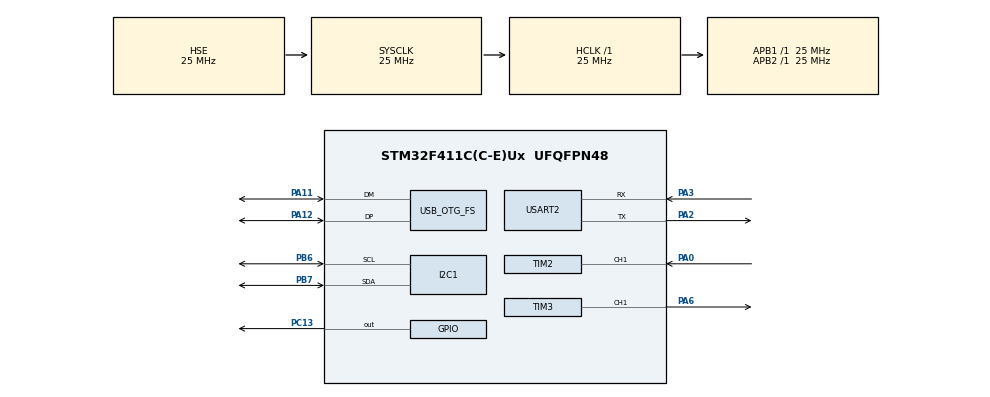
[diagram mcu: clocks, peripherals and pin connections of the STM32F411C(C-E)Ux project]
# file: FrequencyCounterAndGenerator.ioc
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Mcu.Family=STM32F4
Mcu.Name=STM32F411C(C-E)Ux
Mcu.Package=UFQFPN48
NVIC.OTG_FS_IRQn=true\:0\:0\:false\:false\:true\:false\:true\:true
NVIC.PriorityGroup=NVIC_PRIORITYGROUP_4
NVIC.TIM2_IRQn=true\:0\:0\:false\:false\:true\:true\:true\:true
NVIC.USART2_IRQn=true\:0\:0\:false\:false\:true\:true\:true\:true
PA0-WKUP.GPIO_PuPd=GPIO_PULLUP
PA0-WKUP.Signal=S_TIM2_CH1_ETR
PA11.Mode=Device_Only
PA11.Signal=USB_OTG_FS_DM
PA12.Mode=Device_Only
PA12.Signal=USB_OTG_FS_DP
PA13.Mode=Serial_Wire
PA13.Signal=SYS_JTMS-SWDIO
PA14.Mode=Serial_Wire
PA14.Signal=SYS_JTCK-SWCLK
PA2.GPIO_PuPd=GPIO_NOPULL
PA2.Mode=Asynchronous
PA2.Signal=USART2_TX
PA3.GPIO_PuPd=GPIO_PULLUP
PA3.Mode=Asynchronous
PA3.Signal=USART2_RX
PA6.Signal=S_TIM3_CH1
PB6.Mode=I2C
PB6.Signal=I2C1_SCL
PB7.Mode=I2C
PB7.Signal=I2C1_SDA
PC13-ANTI_TAMP.GPIO_PuPd=GPIO_PULLUP
PC13-ANTI_TAMP.Signal=GPIO_Output
PH0\ -\ OSC_IN.Mode=HSE-External-Oscillator
PH0\ -\ OSC_IN.Signal=RCC_OSC_IN
PH1\ -\ OSC_OUT.Mode=HSE-External-Oscillator
PH1\ -\ OSC_OUT.Signal=RCC_OSC_OUT
ProjectManager.HeapSize=0x200
ProjectManager.StackSize=0x400
ProjectManager.TargetToolchain=STM32CubeIDE
RCC.48MHZClocksFreq_Value=48000000
RCC.AHBFreq_Value=25000000
RCC.APB1Freq_Value=25000000
RCC.APB1TimFreq_Value=25000000
RCC.APB2Freq_Value=25000000
RCC.APB2TimFreq_Value=25000000
RCC.CortexFreq_Value=25000000
RCC.HCLKFreq_Value=25000000
RCC.HSE_VALUE=25000000
RCC.HSI_VALUE=16000000
RCC.LSE_VALUE=32768
RCC.PLLM=15
RCC.PLLN=144
RCC.PLLQ=5
RCC.SYSCLKFreq_VALUE=25000000
RCC.SYSCLKSource=RCC_SYSCLKSOURCE_HSE
RCC.VCOOutputFreq_Value=240000000
SH.S_TIM2_CH1_ETR.0=TIM2_CH1,Input_Capture1_from_TI1
SH.S_TIM3_CH1.0=TIM3_CH1,PWM Generation1 CH1
TIM2.Channel-Input_Capture1_from_TI1=TIM_CHANNEL_1
TIM2.ICFilter_CH1=0
TIM2.ICPolarity_CH1=TIM_INPUTCHANNELPOLARITY_FALLING
TIM2.Prescaler=1-1
TIM3.Channel-PWM\ Generation1\ CH1=TIM_CHANNEL_1
TIM3.OCFastMode_PWM-PWM\ Generation1\ CH1=TIM_OCFAST_ENABLE
TIM3.OCPolarity_1=TIM_OCPOLARITY_LOW
TIM3.Period=1-1
TIM3.Prescaler=1-1
USART2.VirtualMode=VM_ASYNC
USB_DEVICE.CLASS_NAME_FS=CDC
USB_DEVICE.VirtualMode=Cdc
USB_DEVICE.VirtualModeFS=Cdc_FS
USB_OTG_FS.VirtualMode=Device_Only
VP_TIM2_VS_ClockSourceINT.Mode=Internal
VP_TIM3_VS_ClockSourceINT.Mode=Internal
VP_USB_DEVICE_VS_USB_DEVICE_CDC_FS.Mode=CDC_FS
board=custom

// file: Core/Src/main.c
/* USER CODE BEGIN Header */
/**
 ******************************************************************************
 * @file           : main.c
 * @brief          : Main program body
 ******************************************************************************
 * @attention
 *
 * Copyright (c) 2024 STMicroelectronics.
 * All rights reserved.
 *
 * This software is licensed under terms that can be found in the LICENSE file
 * in the root directory of this software component.
 * If no LICENSE file comes with this software, it is provided AS-IS.
 *
 ******************************************************************************
 */
/* USER CODE END Header */
#include "main.h"
#include "usb_device.h"

/* USER CODE BEGIN Includes */
#include <math.h>
#include "count2volt.h"
#include "usbd_cdc_if.h"
/* USER CODE END Includes */

/* USER CODE BEGIN PD */
#define ARRMAX 65535
//#define FREQGENON
#define FREQGENOFF
#define LCD
#define USB
#define BT
/* USER CODE END PD */

I2C_HandleTypeDef hi2c1;

TIM_HandleTypeDef htim2;
TIM_HandleTypeDef htim3;

UART_HandleTypeDef huart2;

/* USER CODE BEGIN PV */
HAL_StatusTypeDef retTimer;
GPIO_PinState pinState;
char bufferCDC[1000], bufferBT[1000], bufferLCD[50];
char bufferGenFreq[20], bufferFreq[20], bufferTimerClock[20];
uint8_t length, flag = 0, flagBT = 1;
uint32_t period, desiredFreq, periodPrint, PSC, ARR, CCR, counter = 0;
uint32_t timerClock, desiredFreqperiod, currentCount, lastCountPrint, lastCount = 0;
float dCycle, genFreq, frequency, freqPrint;
/* USER CODE END PV */

void SystemClock_Config(void);
static void MX_GPIO_Init(void);
static void MX_TIM2_Init(void);
static void MX_TIM3_Init(void);
static void MX_USART2_UART_Init(void);
static void MX_I2C1_Init(void);
/* USER CODE BEGIN PFP */
void freqGen(TIM_HandleTypeDef *htim, uint32_t freq);
void freqConv(float freq, char Buf[], uint8_t dPlaces);
int countDigits(int number);
void print2LCD();
void print2USB();
void print2BT();
void btSendString(char *Buf);
void HAL_UART_TxCpltCallback(UART_HandleTypeDef *huart);
void HAL_TIM_IC_CaptureCallback(TIM_HandleTypeDef *htim);
void lcd_init(void);   // initialize lcd
void lcd_send_cmd(char cmd);  // send command to the lcd
void lcd_send_data(char data);  // send data to the lcd
void lcd_send_string(char *str);  // send string to the lcd
void lcd_put_cur(int row, int col); // put cursor at the entered position row (0 or 1), col (0-15);
void lcd_clear(void);
/* USER CODE END PFP */

int main(void)
{

  /* MCU Configuration--------------------------------------------------------*/

  /* Reset of all peripherals, Initializes the Flash interface and the Systick. */
  HAL_Init();

  /* Configure the system clock */
  SystemClock_Config();

  /* Initialize all configured peripherals */
  MX_GPIO_Init();
  MX_TIM2_Init();
  MX_TIM3_Init();
  MX_USART2_UART_Init();
  MX_I2C1_Init();
  MX_USB_DEVICE_Init();
  /* USER CODE BEGIN 2 */
	timerClock = (float) HAL_RCC_GetPCLK2Freq();

	#ifdef FREQGENON
		desiredFreq = 12000;
	#endif

	lcd_init();
	HAL_Delay(100);
	lcd_clear();
	HAL_Delay(100);

	retTimer = HAL_TIM_IC_Start_IT(&htim2, TIM_CHANNEL_1);
	if (retTimer == HAL_OK) {
		HAL_Delay(200);
		for (uint8_t i = 0; i < 6; i++) {
			HAL_GPIO_TogglePin(GPIOC, GPIO_PIN_13);
			HAL_Delay(200);
		}
	}

#ifdef FREQGENON
		freqGen(&htim3, desiredFreq);
		freqConv(genFreq, bufferGenFreq, 4);
	#endif

	freqConv(timerClock, bufferTimerClock, 2);
  /* USER CODE END 2 */

  /* Infinite loop */
  /* USER CODE BEGIN WHILE */
	while (1) {

		freqConv(frequency, bufferFreq, 4);

		dCycle = (CCR / (float) (ARR + 1)) * 100.0;

		length = countDigits(period);

		#ifdef LCD && #undef USB && #undef BT
			print2LCD();
		#endif

		#ifdef USB && #undef BT && #undef LCD
			//BufferCDC com CRLF para a porta USB
			print2USB();
		#endif

		#ifdef BT && #undef USB && #undef LCD
			//BufferBT com LF para o bluetooth
			print2BT();
		#endif

		if (flag) {
			TIM2->CNT = 0;
			flag = 0;
		}

		HAL_Delay(1000);

		HAL_GPIO_TogglePin(GPIOC, GPIO_PIN_13);

    /* USER CODE END WHILE */

	}
}

void SystemClock_Config(void)
{
  RCC_OscInitTypeDef RCC_OscInitStruct = {0};
  RCC_ClkInitTypeDef RCC_ClkInitStruct = {0};

  /** Configure the main internal regulator output voltage
  */
  __HAL_RCC_PWR_CLK_ENABLE();
  __HAL_PWR_VOLTAGESCALING_CONFIG(PWR_REGULATOR_VOLTAGE_SCALE1);

  /** Initializes the RCC Oscillators according to the specified parameters
  * in the RCC_OscInitTypeDef structure.
  */
  RCC_OscInitStruct.OscillatorType = RCC_OSCILLATORTYPE_HSE;
  RCC_OscInitStruct.HSEState = RCC_HSE_ON;
  RCC_OscInitStruct.PLL.PLLState = RCC_PLL_ON;
  RCC_OscInitStruct.PLL.PLLSource = RCC_PLLSOURCE_HSE;
  RCC_OscInitStruct.PLL.PLLM = 15;
  RCC_OscInitStruct.PLL.PLLN = 144;
  RCC_OscInitStruct.PLL.PLLP = RCC_PLLP_DIV2;
  RCC_OscInitStruct.PLL.PLLQ = 5;
  if (HAL_RCC_OscConfig(&RCC_OscInitStruct) != HAL_OK)
  {
    Error_Handler();
  }

  /** Initializes the CPU, AHB and APB buses clocks
  */
  RCC_ClkInitStruct.ClockType = RCC_CLOCKTYPE_HCLK|RCC_CLOCKTYPE_SYSCLK
                              |RCC_CLOCKTYPE_PCLK1|RCC_CLOCKTYPE_PCLK2;
  RCC_ClkInitStruct.SYSCLKSource = RCC_SYSCLKSOURCE_HSE;
  RCC_ClkInitStruct.AHBCLKDivider = RCC_SYSCLK_DIV1;
  RCC_ClkInitStruct.APB1CLKDivider = RCC_HCLK_DIV1;
  RCC_ClkInitStruct.APB2CLKDivider = RCC_HCLK_DIV1;

  if (HAL_RCC_ClockConfig(&RCC_ClkInitStruct, FLASH_LATENCY_0) != HAL_OK)
  {
    Error_Handler();
  }
}

static void MX_I2C1_Init(void)
{

  hi2c1.Instance = I2C1;
  hi2c1.Init.ClockSpeed = 100000;
  hi2c1.Init.DutyCycle = I2C_DUTYCYCLE_2;
  hi2c1.Init.OwnAddress1 = 0;
  hi2c1.Init.AddressingMode = I2C_ADDRESSINGMODE_7BIT;
  hi2c1.Init.DualAddressMode = I2C_DUALADDRESS_DISABLE;
  hi2c1.Init.OwnAddress2 = 0;
  hi2c1.Init.GeneralCallMode = I2C_GENERALCALL_DISABLE;
  hi2c1.Init.NoStretchMode = I2C_NOSTRETCH_DISABLE;
  if (HAL_I2C_Init(&hi2c1) != HAL_OK)
  {
    Error_Handler();
  }

}

static void MX_TIM2_Init(void)
{

  TIM_ClockConfigTypeDef sClockSourceConfig = {0};
  TIM_MasterConfigTypeDef sMasterConfig = {0};
  TIM_IC_InitTypeDef sConfigIC = {0};

  htim2.Instance = TIM2;
  htim2.Init.Prescaler = 1-1;
  htim2.Init.CounterMode = TIM_COUNTERMODE_UP;
  htim2.Init.Period = 4294967295;
  htim2.Init.ClockDivision = TIM_CLOCKDIVISION_DIV1;
  htim2.Init.AutoReloadPreload = TIM_AUTORELOAD_PRELOAD_DISABLE;
  if (HAL_TIM_Base_Init(&htim2) != HAL_OK)
  {
    Error_Handler();
  }
  sClockSourceConfig.ClockSource = TIM_CLOCKSOURCE_INTERNAL;
  if (HAL_TIM_ConfigClockSource(&htim2, &sClockSourceConfig) != HAL_OK)
  {
    Error_Handler();
  }
  if (HAL_TIM_IC_Init(&htim2) != HAL_OK)
  {
    Error_Handler();
  }
  sMasterConfig.MasterOutputTrigger = TIM_TRGO_RESET;
  sMasterConfig.MasterSlaveMode = TIM_MASTERSLAVEMODE_DISABLE;
  if (HAL_TIMEx_MasterConfigSynchronization(&htim2, &sMasterConfig) != HAL_OK)
  {
    Error_Handler();
  }
  sConfigIC.ICPolarity = TIM_INPUTCHANNELPOLARITY_FALLING;
  sConfigIC.ICSelection = TIM_ICSELECTION_DIRECTTI;
  sConfigIC.ICPrescaler = TIM_ICPSC_DIV1;
  sConfigIC.ICFilter = 0;
  if (HAL_TIM_IC_ConfigChannel(&htim2, &sConfigIC, TIM_CHANNEL_1) != HAL_OK)
  {
    Error_Handler();
  }

}

static void MX_TIM3_Init(void)
{

  TIM_ClockConfigTypeDef sClockSourceConfig = {0};
  TIM_MasterConfigTypeDef sMasterConfig = {0};
  TIM_OC_InitTypeDef sConfigOC = {0};

  htim3.Instance = TIM3;
  htim3.Init.Prescaler = 1-1;
  htim3.Init.CounterMode = TIM_COUNTERMODE_UP;
  htim3.Init.Period = 1-1;
  htim3.Init.ClockDivision = TIM_CLOCKDIVISION_DIV1;
  htim3.Init.AutoReloadPreload = TIM_AUTORELOAD_PRELOAD_DISABLE;
  if (HAL_TIM_Base_Init(&htim3) != HAL_OK)
  {
    Error_Handler();
  }
  sClockSourceConfig.ClockSource = TIM_CLOCKSOURCE_INTERNAL;
  if (HAL_TIM_ConfigClockSource(&htim3, &sClockSourceConfig) != HAL_OK)
  {
    Error_Handler();
  }
  if (HAL_TIM_PWM_Init(&htim3) != HAL_OK)
  {
    Error_Handler();
  }
  sMasterConfig.MasterOutputTrigger = TIM_TRGO_RESET;
  sMasterConfig.MasterSlaveMode = TIM_MASTERSLAVEMODE_DISABLE;
  if (HAL_TIMEx_MasterConfigSynchronization(&htim3, &sMasterConfig) != HAL_OK)
  {
    Error_Handler();
  }
  sConfigOC.OCMode = TIM_OCMODE_PWM1;
  sConfigOC.Pulse = 0;
  sConfigOC.OCPolarity = TIM_OCPOLARITY_LOW;
  sConfigOC.OCFastMode = TIM_OCFAST_ENABLE;
  if (HAL_TIM_PWM_ConfigChannel(&htim3, &sConfigOC, TIM_CHANNEL_1) != HAL_OK)
  {
    Error_Handler();
  }
  HAL_TIM_MspPostInit(&htim3);

}

static void MX_USART2_UART_Init(void)
{

  huart2.Instance = USART2;
  huart2.Init.BaudRate = 115200;
  huart2.Init.WordLength = UART_WORDLENGTH_8B;
  huart2.Init.StopBits = UART_STOPBITS_1;
  huart2.Init.Parity = UART_PARITY_NONE;
  huart2.Init.Mode = UART_MODE_TX_RX;
  huart2.Init.HwFlowCtl = UART_HWCONTROL_NONE;
  huart2.Init.OverSampling = UART_OVERSAMPLING_16;
  if (HAL_UART_Init(&huart2) != HAL_OK)
  {
    Error_Handler();
  }

}

static void MX_GPIO_Init(void)
{
  GPIO_InitTypeDef GPIO_InitStruct = {0};

  /* GPIO Ports Clock Enable */
  __HAL_RCC_GPIOC_CLK_ENABLE();
  __HAL_RCC_GPIOH_CLK_ENABLE();
  __HAL_RCC_GPIOA_CLK_ENABLE();
  __HAL_RCC_GPIOB_CLK_ENABLE();

  /*Configure GPIO pin Output Level */
  HAL_GPIO_WritePin(GPIOC, GPIO_PIN_13, GPIO_PIN_RESET);

  /*Configure GPIO pin : PC13 */
  GPIO_InitStruct.Pin = GPIO_PIN_13;
  GPIO_InitStruct.Mode = GPIO_MODE_OUTPUT_PP;
  GPIO_InitStruct.Pull = GPIO_PULLUP;
  GPIO_InitStruct.Speed = GPIO_SPEED_FREQ_LOW;
  HAL_GPIO_Init(GPIOC, &GPIO_InitStruct);

}

/* USER CODE BEGIN 4 */
void freqGen(TIM_HandleTypeDef *htim, uint32_t freq) {
	if (htim->Instance == TIM3) {
		uint32_t arr, psc = 1;
		while (1) {
			if (timerClock % freq == 0) {
				arr = (timerClock / (freq * psc)) - 1;
				if (arr <= ARRMAX) {
					break;
				}
				psc++;
			}
		}
		psc -= 1;

		genFreq = (float) freq;
		ARR = arr;
		CCR = (ARR + 1) / 2;
		PSC = psc;

		htim->Instance->ARR = ARR;
		htim->Instance->PSC = psc;
		htim->Instance->CCR1 = CCR;

		HAL_TIM_PWM_Start(htim, TIM_CHANNEL_1);
	}
	HAL_TIM_IC_Start_IT(&htim2, TIM_CHANNEL_1);
}

void freqConv(float freq, char Buf[], uint8_t dPlaces) {
	uint16_t oMagnitude = 0;
	while (freq >= 1000) {
		freq /= 1000.0;
		oMagnitude++;
	}

	switch (oMagnitude) {
	case 0:
		sprintf(Buf, "%.*f [Hz]", dPlaces, freq);
		break;
	case 1:
		sprintf(Buf, "%.*f [KHz]", dPlaces, freq);
		break;
	case 2:
		sprintf(Buf, "%.*f [MHz]", dPlaces, freq);
		break;
	case 3:
		sprintf(Buf, "%.*f [GHz]", dPlaces, freq);
		break;
	default:
		sprintf(Buf, "Out of range");
		break;
	}
}

int countDigits(int number) {
	if (number == 0) {
		return 1;
	}

	int count = 0;

	// Handle negative numbers
	if (number < 0) {
		number = -number;
	}

	while (number != 0) {
		number /= 10;
		count++;
	}

	return count;
}

void print2LCD() {
	lcd_put_cur(0, 0);
	sprintf(bufferLCD, "%s", "Freq = ");
	lcd_send_string(bufferLCD);

	lcd_put_cur(0, 7);
	sprintf(bufferLCD, "%s", bufferFreq);
	lcd_send_string(bufferLCD);

	lcd_put_cur(2, 0);
	lcd_send_string("T = ");

	lcd_put_cur(2, 4);
	sprintf(bufferLCD, "%lu", period);
	lcd_send_string(bufferLCD);

	//length = countDigits(period);
	HAL_Delay(10);
	lcd_put_cur(2, (length + 4 + 1));
	lcd_send_string("ciclos");

	lcd_put_cur(3, 0);
	lcd_send_string("Clock = ");

	lcd_put_cur(3, 8);
	sprintf(bufferLCD, "%s", bufferTimerClock);
	lcd_send_string(bufferLCD);
}

void print2USB() {
	#ifdef FREQGENON
		sprintf(bufferCDC,
				"\n\r#########################\r\n"
				"FREQUENCY GENERATOR (Timer 3)\n\r"
				"Frequency: %s\n\r"
				"PSC: %lu\n\rARR: %lu\n\rCCR: %lu\n\r"
				"Duty cycle (CCR / (ARR+1)): %.2f %%\n\r\n\r"
				"Frequency Counter (Timer2)\n\r"
				"Frequency: %s\n\r"
				"Timer Clock: %s\n\rNew CCR: %lu\n\r"
				"Old CCR: %lu\n\rDiff CCR (T in clock pulses): %lu\n\r",
				bufferFreq, PSC, ARR, CCR, dCycle, bufferGenFreq, bufferTimerClock,
					currentCount, lastCountPrint, period);
	#endif
	#ifdef FREQGENOFF
		sprintf(bufferCDC, "########################\r\n"
				"FREQUENCY COUNTER (Timer 2)\r\n"
				"Frequency: %s\r\n"
				"Timer Clock: %s\r\n"
				"New CCR: %lu\r\n"
				"Old CCR: %lu\r\n"
				"Diff CCR (T): %lu\r\n", bufferFreq, bufferTimerClock, currentCount,
				lastCountPrint, period);
	#endif
	CDC_Transmit_FS(bufferCDC, strlen(bufferCDC));
}

void print2BT() {
	#ifdef FREQGENON
		sprintf(bufferBT,
				"#########################\n\r"
				"Frequency Generator (Timer 3)\n"
				"Frequency: %s\n\r"
				"PSC: %lu\n\rARR: %lu\n\rCCR: %lu\n\r"
				"Duty cycle (CCR / (ARR+1)): %.2f %%\n\r\n\r"
				"Frequency Counter (Timer2)\n\r"
				"Frequency: %s\n\r"
				"Timer Clock: %s\n\rNew CCR: %lu\n\r"
				"Old CCR: %lu\n\rDiff CCR (T in clock pulses): \n\r",
				bufferFreq, PSC, ARR, CCR, dCycle, bufferGenFreq, bufferTimerClock,
				currentCount, lastCountPrint, period);
		btSendString(bufferBT);
	#endif
	#ifdef FREQGENOFF
		sprintf(bufferBT,
				"\r\n########################\r\n"
				"FREQUENCY COUNTER (Timer 2)\r\n"
				"Frequency: %s\r\n"
				"Timer Clock: %s\r\n"
				"New CCR: %lu\r\n"
				"Old CCR: %lu\r\n"
				"Diff CCR (T): %lu",
				bufferFreq, bufferTimerClock,
				currentCount, lastCountPrint, period);
		btSendString(bufferBT);
#endif
}

void btSendString(char *Buf) {
	if (flagBT) {
		HAL_UART_Transmit_IT(&huart2, (uint8_t*) Buf, strlen(Buf));
		flagBT = 0;
	}
}

void HAL_UART_TxCpltCallback(UART_HandleTypeDef *huart) {
	if (huart->Instance == USART2) {
		flagBT = 1;
	}
}

void HAL_TIM_IC_CaptureCallback(TIM_HandleTypeDef *htim) {
	if (htim->Instance == TIM2) {
		currentCount = HAL_TIM_ReadCapturedValue(htim, TIM_CHANNEL_1);
		uint32_t arr = TIM3->ARR;
		if (lastCount != 0) {
			if (currentCount >= lastCount) {
				period = currentCount - lastCount;
			} else {
				period = (arr + currentCount) - lastCount;
			}
			frequency = timerClock / (float) period;
		}
		lastCountPrint = lastCount; // Salva em lastCountPrint para mandar pela USB
		lastCount = currentCount;

		flag = 1;
	}
}

/* USER CODE END 4 */

void Error_Handler(void)
{
	__disable_irq();
	while (1) {
	}
}
